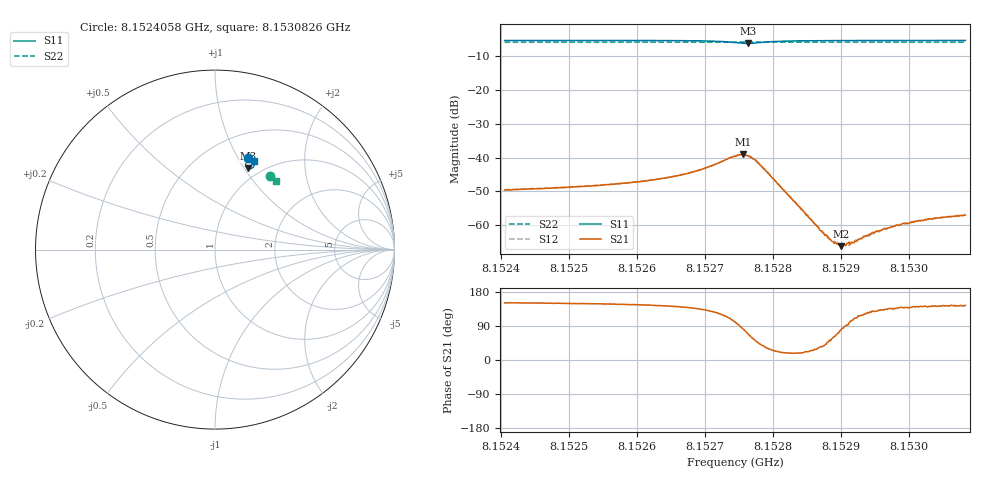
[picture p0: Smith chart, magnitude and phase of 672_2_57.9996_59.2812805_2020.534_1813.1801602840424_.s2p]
#  HZ  S  RI  R  50.00
! Rohde & Schwarz Vector Network Analyzer
! Rohde-Schwarz,ZNB20-2Port,1311601062101988,3.16
! Created: UTC 3/21/2024, 1:20:24 AM
! freq[Hz]  re:S11  im:S11  re:S21  im:S21  re:S12  im:S12  re:S22  im:S22
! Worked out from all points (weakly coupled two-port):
!   401 points, 8.1524058 GHz to 8.1530826 GHz, reference 50 ohm
!   highest |S21| = -39.02 dB at 8.152756 GHz (marker M1); lowest = -66.2 dB at 8.1528999 GHz (marker M2)
!   lowest |S11| = -6.2 dB at 8.1527628 GHz (marker M3), VSWR 2.92, Z = 43.7 + j52.1 ohm
!   |S11| at or under -10 dB: nowhere
!   |S22| runs from -5.9 to -5.8 dB; largest |S21 - S12| = 0.0003
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8.15240577e9  0.1846 0.5082  -0.00291 0.00162  -0.0029 0.00169  0.3071 0.4091
8.15251914e9  0.194 0.5045  -0.0032 0.00191  -0.00322 0.00199  0.3128 0.4044
8.15258175e9  0.1999 0.5018  -0.0035 0.00228  -0.0035 0.00234  0.3159 0.4017
8.15263251e9  0.2057 0.4982  -0.00389 0.00286  -0.0039 0.00293  0.3185 0.3997
8.15268497e9  0.2135 0.4908  -0.0045 0.0043  -0.00451 0.00435  0.3211 0.3973
8.15274419e9  0.2106 0.4573  -0.00195 0.0103  -0.00176 0.0104  0.3233 0.3939
8.15275604e9  0.1952 0.451  0.00161 0.0111  0.00158 0.011  0.3232 0.3935
8.1527628e9  0.1846 0.4532  0.00377 0.00999  0.00368 0.0102  0.323 0.3933
8.15277126e9  0.1746 0.4617  0.00542 0.00786  0.00561 0.00796  0.3233 0.3935
8.15278142e9  0.1704 0.4743  0.00577 0.00515  0.00605 0.00518  0.3238 0.3935
8.15285756e9  0.1941 0.4997  0.00104 0.00049  0.00107 0.000466  0.3286 0.391
8.15287618e9  0.1977 0.4998  0.000546 0.000445  0.000574 0.000448  0.3297 0.3903
8.15288633e9  0.1994 0.4998  0.000324 0.000485  0.000377 0.000481  0.3301 0.3899
8.1528931e9  0.2004 0.4996  0.000207 0.000491  0.000216 0.00047  0.3305 0.3896
8.15289987e9  0.2015 0.4996  8.66e-05 0.000482  0.000102 0.000487  0.3308 0.3893
8.15291002e9  0.2029 0.4993  -1.92e-05 0.000535  -7.27e-05 0.000524  0.3312 0.3888
8.15291679e9  0.2037 0.4992  -0.00014 0.000538  -0.000131 0.000533  0.3317 0.3885
8.15294894e9  0.2075 0.4985  -0.000479 0.00062  -0.000469 0.000605  0.3332 0.387
8.15297094e9  0.2098 0.4978  -0.000662 0.00064  -0.000639 0.00069  0.3344 0.3862
8.15298616e9  0.2113 0.4973  -0.00075 0.000669  -0.000755 0.000705  0.335 0.3854
8.15302678e9  0.2148 0.4962  -0.00094 0.00079  -0.000936 0.000795  0.337 0.3836
8.15308262e9  0.2195 0.4946  -0.00115 0.000829  -0.00117 0.000856  0.3396 0.3813
